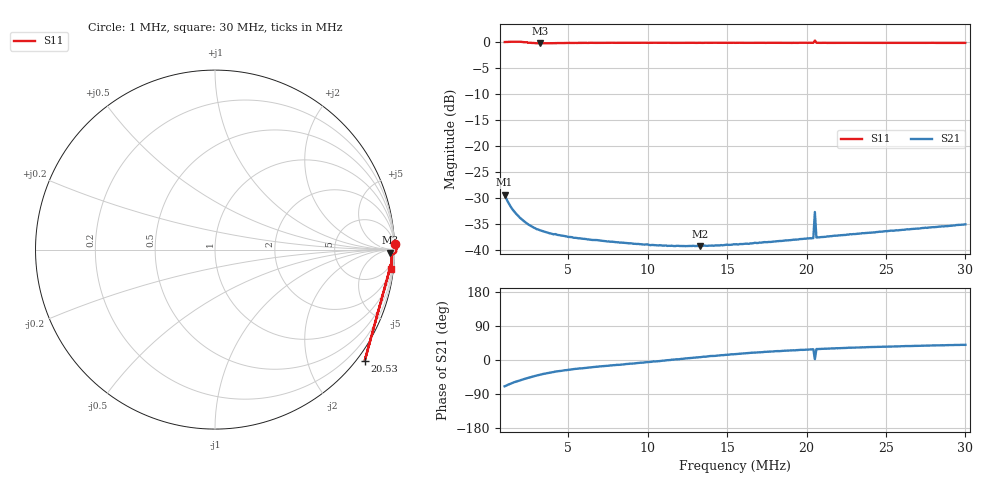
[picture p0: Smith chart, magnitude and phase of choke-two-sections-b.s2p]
!File created by NanoVNA-F V2
# Hz S RI R 50
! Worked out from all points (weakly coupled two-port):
!   301 points, 1 MHz to 30 MHz, reference 50 ohm
!   highest |S21| = -29.40 dB at 1 MHz (marker M1); lowest = -39.3 dB at 13.28 MHz (marker M2)
!   lowest |S11| = -0.2 dB at 3.223 MHz (marker M3), VSWR 76.59, Z = 2.66e+03 - j1.76e+03 ohm
!   |S11| at or under -10 dB: nowhere
!   S12 and S22 are empty: the file has one direction only
!   S11 on the Smith chart (normalised r, x): 1 MHz: -7, +67; 20.53 MHz: -0.19, -3.02; 30 MHz: 3, -18
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1000000  1.002 0.0294  0.0119 -0.0317  0 0  0 0
1193332  1.005 0.0235  0.012 -0.0265  0 0  0 0
1483330  1.009 0.00991  0.0121 -0.0214  0 0  0 0
1966660  1.01 -0.0116  0.0121 -0.0163  0 0  0 0
2546656  0.9889 -0.0266  0.0119 -0.0125  0 0  0 0
3223318  0.9741 -0.0169  0.0119 -0.00966  0 0  0 0
4093312  0.9784 -0.0108  0.0119 -0.00738  0 0  0 0
4189978  0.9789 -0.0107  0.0122 -0.00719  0 0  0 0
5833300  0.9839 -0.0156  0.0118 -0.00481  0 0  0 0
8249950  0.9852 -0.0257  0.0114 -0.00253  0 0  0 0
1.06666e7  0.9845 -0.0367  0.011 -0.0006  0 0  0 0
1.327658e7  0.9848 -0.0469  0.0107 0.00142  0 0  0 0
1.54999e7  0.9834 -0.0542  0.0108 0.003  0 0  0 0
1.636989e7  0.9836 -0.057  0.0108 0.00359  0 0  0 0
1.675656e7  0.9835 -0.0592  0.011 0.00392  0 0  0 0
1.694989e7  0.983 -0.0599  0.0109 0.00397  0 0  0 0
2.03332e7  0.9815 -0.0714  0.0113 0.00607  0 0  0 0
2.042987e7  0.9834 -0.0737  0.0114 0.00612  0 0  0 0
2.052653e7  0.8343 -0.6187  0.023 0.000844  0 0  0 0
2.06232e7  0.9832 -0.0728  0.0114 0.00632  0 0  0 0
2.51665e7  0.9807 -0.0878  0.0124 0.00876  0 0  0 0
2.99998e7  0.9779 -0.1065  0.0134 0.0112  0 0  0 0
